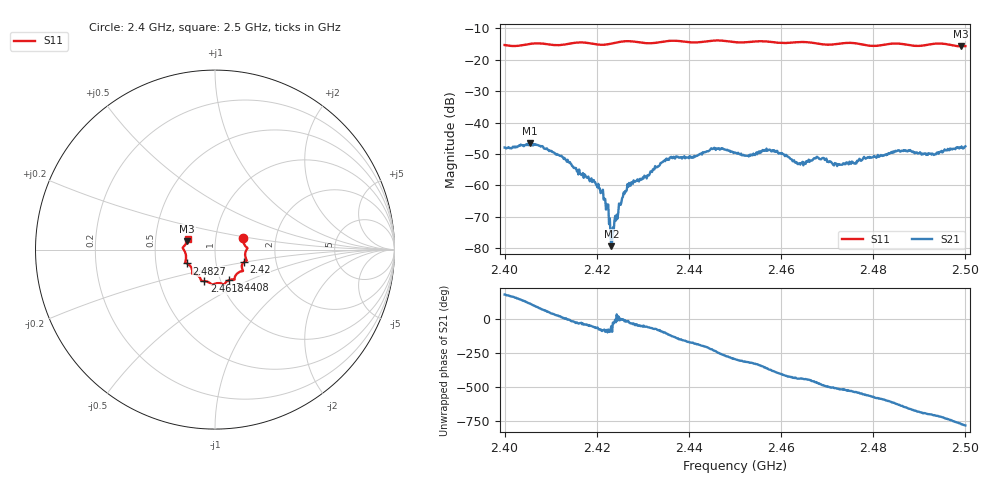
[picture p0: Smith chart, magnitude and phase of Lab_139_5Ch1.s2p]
# Hz S RI R 50
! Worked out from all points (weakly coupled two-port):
!   601 points, 2.4 GHz to 2.5 GHz, reference 50 ohm
!   highest |S21| = -46.62 dB at 2.4055 GHz (marker M1); lowest = -79.3 dB at 2.4232 GHz (marker M2)
!   lowest |S11| = -15.8 dB at 2.499 GHz (marker M3), VSWR 1.39, Z = 36.4 + j3.48 ohm
!   |S11| at or under -10 dB: start of sweep to end of sweep
!   S12 and S22 are empty: the file has one direction only
!   S11 on the Smith chart (normalised r, x): 2.4 GHz: 1.36, +0.18; 2.42 GHz: 1.36, -0.20; 2.4408 GHz: 1.10, -0.39; 2.4618 GHz: 0.84, -0.30; 2.4827 GHz: 0.72, -0.11; 2.5 GHz: 0.73, +0.09
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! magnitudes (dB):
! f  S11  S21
! 2.4 GHz  -15.4  -47.9
! 2.4055 GHz  -15.0  -46.6
! 2.4122 GHz  -15.4  -50.6
! 2.4167 GHz  -14.5  -56.7
! 2.42 GHz  -15.2  -60.0
! 2.422 GHz  -15.2  -67.7
! 2.4232 GHz  -14.9  -79.3
! 2.4267 GHz  -14.1  -59.6
! 2.4333 GHz  -14.5  -54.0
! 2.4363 GHz  -14.0  -51.3
! 2.4408 GHz  -14.6  -51.2
! 2.4452 GHz  -14.0  -48.4
! 2.45 GHz  -14.4  -49.5
! 2.4572 GHz  -14.3  -48.8
! 2.4618 GHz  -14.7  -51.2
! 2.464 GHz  -14.4  -52.9
! 2.4667 GHz  -14.6  -52.1
! 2.4727 GHz  -14.9  -53.4
! 2.4827 GHz  -15.2  -50.1
! 2.4833 GHz  -15.0  -49.7
! 2.499 GHz  -15.8  -48.1
! 2.5 GHz  -15.7  -47.6
